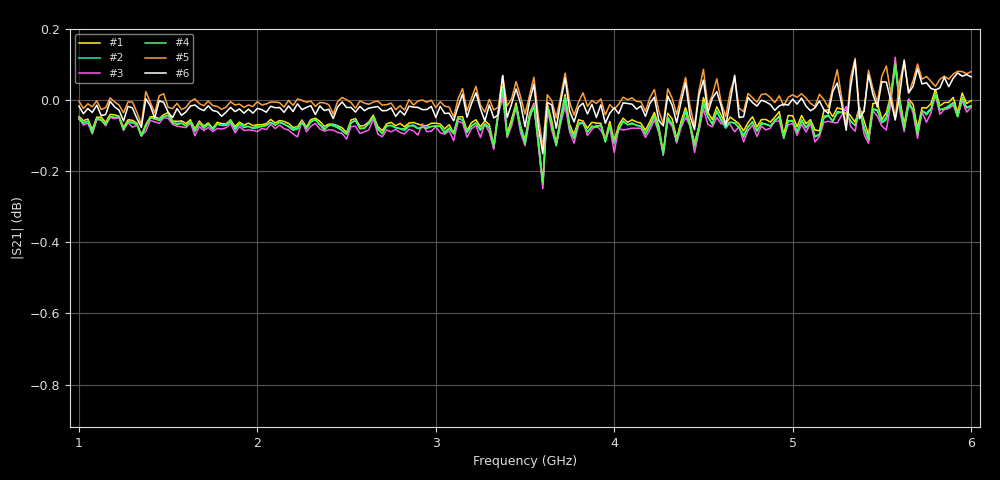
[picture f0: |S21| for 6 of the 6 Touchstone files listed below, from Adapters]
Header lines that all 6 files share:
!Keysight Technologies,E5080A,MY55100170,A.11.70.00
!Correction: S11(Full 2 Port(1,2))
!S21(Full 2 Port(1,2))
!S12(Full 2 Port(1,2))
!S22(Full 2 Port(1,2))
!S2P File: Measurements: S11, S21, S12, S22:
# Hz S  dB  R 50
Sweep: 1 GHz to 6 GHz
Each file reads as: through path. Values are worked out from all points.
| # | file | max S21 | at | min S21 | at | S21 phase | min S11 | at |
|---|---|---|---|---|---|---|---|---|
| 1 | 1.s2p | 0.11 dB | 5.575 GHz | -0.2 dB | 3.6 GHz | -144 deg at 3.5 GHz | -45.8 dB | 1.15 GHz |
| 2 | 2.s2p | 0.09 dB | 5.575 GHz | -0.2 dB | 3.6 GHz | -144 deg at 3.5 GHz | -44.7 dB | 1.15 GHz |
| 3 | 3.s2p | 0.12 dB | 5.575 GHz | -0.2 dB | 3.6 GHz | -147 deg at 3.5 GHz | -53.0 dB | 1.625 GHz |
| 4 | 4.s2p | 0.10 dB | 5.575 GHz | -0.2 dB | 3.6 GHz | -144 deg at 3.5 GHz | -54.5 dB | 5.05 GHz |
| 5 | ff1.s2p | 0.12 dB | 5.35 GHz | -0.1 dB | 3.6 GHz | 14 deg at 3.5 GHz | -53.8 dB | 4.375 GHz |
| 6 | ff2.s2p | 0.11 dB | 5.625 GHz | -0.2 dB | 3.6 GHz | 18 deg at 3.5 GHz | -50.3 dB | 2.05 GHz |
